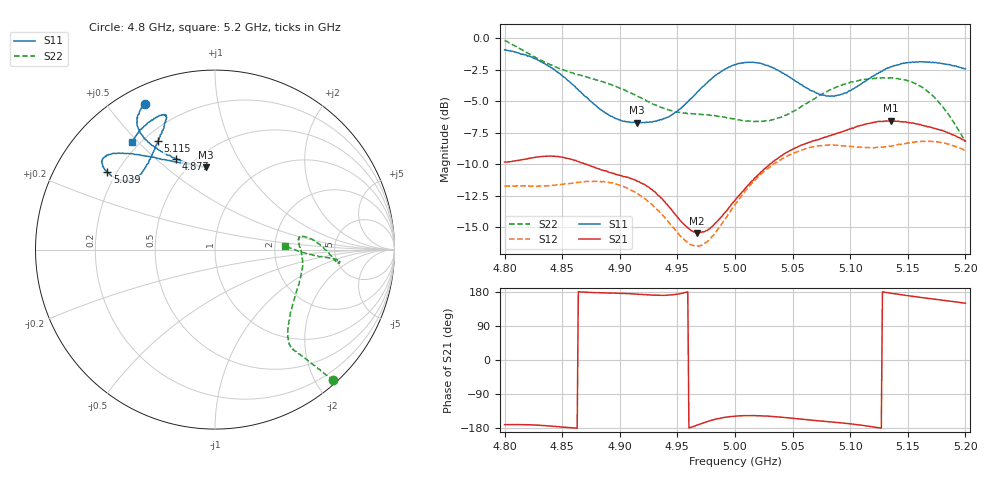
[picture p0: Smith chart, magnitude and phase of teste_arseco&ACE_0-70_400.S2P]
! Network Analyzer HP8722D
! Hewlett-Packard
! Data name: Linha & Wilkinson
! Saver's name: Rodrigo Anjos
! Comments: Teste da utilização de aquisição
! continua pelo VNA HP8722D
! Time and date: 8/5/2025 16:05
!  Frequency  S11  S21  S12  S22
# HZ  S  MA R 50
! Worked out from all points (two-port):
!   401 points, 4.8 GHz to 5.2 GHz, reference 50 ohm
!   highest |S21| = -6.53 dB at 5.135 GHz (marker M1); lowest = -15.5 dB at 4.967 GHz (marker M2)
!   |S21| within 3 dB of the highest: 4.822 GHz to 4.853 GHz (31.31 MHz wide, 0.647 % of centre); 5.037 GHz to end of sweep
!   lowest |S11| = -6.7 dB at 4.915 GHz (marker M3), VSWR 2.72, Z = 29.9 + j34.9 ohm
!   |S11| at or under -10 dB: nowhere
!   |S22| runs from -8.2 to -0.2 dB; largest |S21 - S12| = 0.83
!   S11 on the Smith chart (normalised r, x): 4.8 GHz: 0.07, +0.63; 4.877 GHz: 0.40, +0.58; 5.039 GHz: 0.17, +0.31; 5.115 GHz: 0.25, +0.58; 5.2 GHz: 0.17, +0.48
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4.8e9  0.9012 115.7  0.3225 -170.6  0.259 -86.2  0.982 -47.9
4.832e9  0.8069 122.2  0.3393 -172.7  0.2586 -77.7  0.8174 -49.9
4.849e9  0.7166 122.0  0.3376 -176.8  0.2626 -72.2  0.7555 -50.9
4.867e9  0.6053 117.7  0.32 179.2  0.2682 -67.8  0.7117 -51.9
4.877e9  0.5516 113.3  0.3083 177.9  0.2699 -66.6  0.6896 -52.1
4.899e9  0.4745 101.5  0.2859 176.0  0.2615 -67.2  0.6377 -50.4
4.915e9  0.4621 96.3  0.2704 173.7  0.242 -69.0  0.5909 -46.3
4.934e9  0.4722 99.8  0.2364 170.8  0.2058 -69.9  0.535 -37.0
4.949e9  0.5089 110.0  0.1977 173.3  0.1716 -65.8  0.5107 -27.2
4.967e9  0.6104 123.0  0.1685 -171.9  0.1492 -48.9  0.5 -15.8
4.979e9  0.6877 129.6  0.1771 -159.5  0.1605 -35.1  0.4937 -9.6
5e9  0.786 137.4  0.227 -148.3  0.2188 -21.6  0.478 -0.2
5.02e9  0.7997 142.1  0.2862 -147.1  0.2814 -18.8  0.4681 6.1
5.039e9  0.7392 144.3  0.3379 -150.5  0.328 -19.0  0.4848 8.7
5.067e9  0.6177 141.9  0.3904 -158.8  0.3703 -21.4  0.5686 4.0
5.087e9  0.5929 133.5  0.4172 -164.5  0.376 -24.3  0.638 -2.1
5.115e9  0.6855 117.6  0.4585 -174.3  0.3683 -27.4  0.6895 -6.1
5.134e9  0.7645 111.0  0.4691 176.9  0.3731 -29.5  0.696 -5.4
5.135e9  0.7708 111.0  0.4716 176.5  0.3731 -29.6  0.6977 -5.5
5.162e9  0.8082 112.9  0.4523 164.9  0.3897 -36.3  0.6418 -4.2
5.179e9  0.7959 118.7  0.4317 158.2  0.3852 -41.7  0.5444 -3.1
5.2e9  0.7565 127.6  0.3906 149.8  0.3581 -47.4  0.3882 3.3
